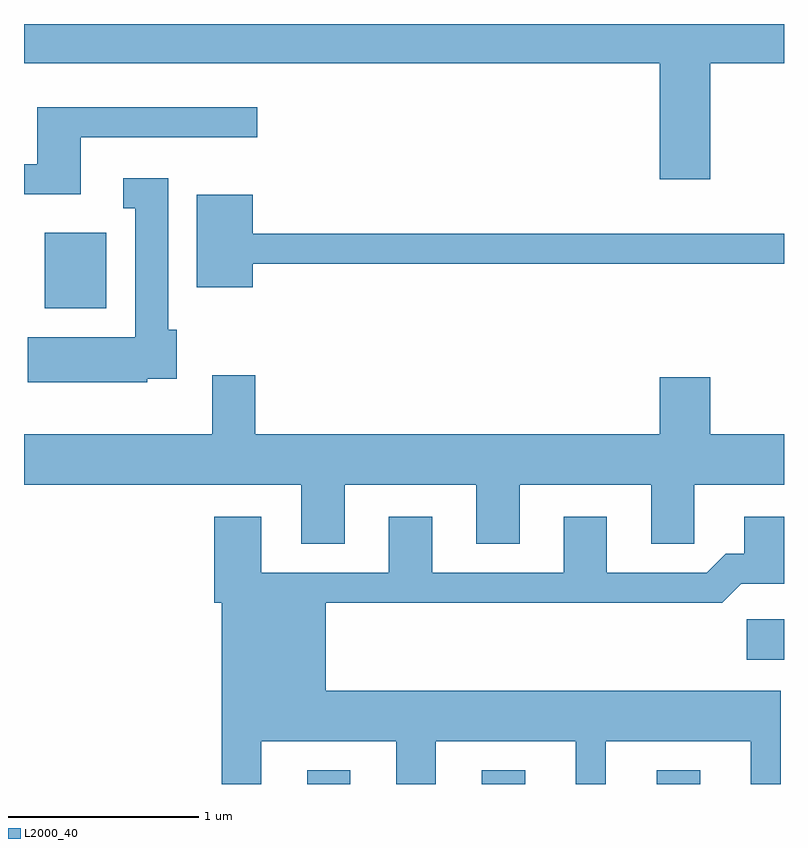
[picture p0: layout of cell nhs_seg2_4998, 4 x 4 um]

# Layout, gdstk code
import gdstk
lib = gdstk.Library(unit=1e-6, precision=1e-09)
def R(c, l, rs):  # rectangles x0, y0, x1, y1
    for r in rs: c.add(gdstk.rectangle(r[:2], r[2:], *l))
def A(c, l, x, y, w, h, nx, ny, dx, dy):  # array of equal rectangles
    R(c, l, [(x+i*dx, y+j*dy, x+i*dx+w, y+j*dy+h) for i in range(nx) for j in range(ny)])
def P(c, l, *ps):  # polygons
    for p in ps: c.add(gdstk.Polygon(p, *l))
L2000_40 = (2000, 40)

nhs_seg2_4998 = lib.new_cell('nhs_seg2_4998')
A(nhs_seg2_4998, L2000_40, 333.101, 1097.802, 0.228, 0.072, 3, 1, 0.92, 0)
R(nhs_seg2_4998, L2000_40, [(335.416,1098.456,335.611,1098.669), (331.721,1100.306,332.044,1100.704)])
P(nhs_seg2_4998, L2000_40, [(335.224,1101.596),(335.611,1101.596),(335.611,1101.802),(331.611,1101.802),(331.611,1101.596),(334.956,1101.596),(334.956,1100.986),(335.224,1100.986)],
  [(331.909,1101.206),(332.838,1101.206),(332.838,1101.364),(331.681,1101.364),(331.681,1101.064),(331.611,1101.064),(331.611,1100.906),(331.909,1100.906)],
  [(332.259,1099.936),(332.414,1099.936),(332.414,1100.194),(332.369,1100.194),(332.369,1100.989),(332.133,1100.989),(332.133,1100.831),(332.196,1100.831),(332.196,1100.154),(331.631,1100.154),(331.631,1099.916),(332.259,1099.916)],
  [(332.814,1100.541),(335.611,1100.541),(335.611,1100.699),(332.814,1100.699),(332.814,1100.904),(332.521,1100.904),(332.521,1100.416),(332.814,1100.416)],
  [(332.829,1099.954),(332.601,1099.954),(332.601,1099.644),(331.611,1099.644),(331.611,1099.376),(333.071,1099.376),(333.071,1099.066),(333.299,1099.066),(333.299,1099.376),(333.991,1099.376),(333.991,1099.066),(334.219,1099.066),(334.219,1099.376),(334.911,1099.376),(334.911,1099.066),(335.139,1099.066),(335.139,1099.376),(335.611,1099.376),(335.611,1099.644),(335.224,1099.644),(335.224,1099.944),(334.956,1099.944),(334.956,1099.644),(332.829,1099.644)],
  [(332.859,1098.026),(333.571,1098.026),(333.571,1097.802),(333.779,1097.802),(333.779,1098.026),(334.516,1098.026),(334.516,1097.802),(334.674,1097.802),(334.674,1098.026),(335.436,1098.026),(335.436,1097.802),(335.594,1097.802),(335.594,1098.294),(333.199,1098.294),(333.199,1098.756),(335.287,1098.756),(335.387,1098.856),(335.611,1098.856),(335.611,1099.209),(335.401,1099.209),(335.401,1099.014),(335.304,1099.014),(335.204,1098.914),(334.679,1098.914),(334.679,1099.209),(334.451,1099.209),(334.451,1098.914),(333.759,1098.914),(333.759,1099.209),(333.531,1099.209),(333.531,1098.914),(332.859,1098.914),(332.859,1099.209),(332.611,1099.209),(332.611,1098.756),(332.651,1098.756),(332.651,1097.802),(332.859,1097.802)])

lib.write_gds('nhs_seg2_4998.gds')
